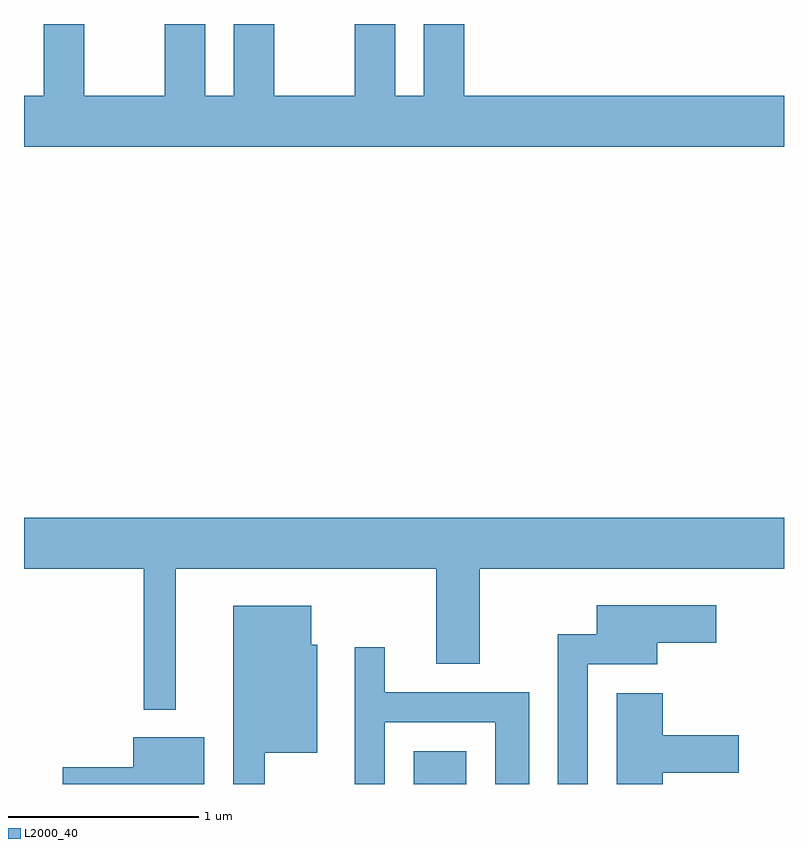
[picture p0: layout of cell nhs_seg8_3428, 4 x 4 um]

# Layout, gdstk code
import gdstk
lib = gdstk.Library(unit=1e-6, precision=1e-09)
def R(c, l, rs):  # rectangles x0, y0, x1, y1
    for r in rs: c.add(gdstk.rectangle(r[:2], r[2:], *l))
def P(c, l, *ps):  # polygons
    for p in ps: c.add(gdstk.Polygon(p, *l))
L2000_40 = (2000, 40)

nhs_seg8_3428 = lib.new_cell('nhs_seg8_3428')
R(nhs_seg8_3428, L2000_40, [(289.661,1886.342,289.939,1886.514)])
P(nhs_seg8_3428, L2000_40, [(291.611,1889.964),(289.929,1889.964),(289.929,1890.342),(289.716,1890.342),(289.716,1889.964),(289.564,1889.964),(289.564,1890.342),(289.351,1890.342),(289.351,1889.964),(288.929,1889.964),(288.929,1890.342),(288.716,1890.342),(288.716,1889.964),(288.564,1889.964),(288.564,1890.342),(288.351,1890.342),(288.351,1889.964),(287.929,1889.964),(287.929,1890.342),(287.716,1890.342),(287.716,1889.964),(287.611,1889.964),(287.611,1889.696),(291.611,1889.696)],
  [(288.409,1887.476),(289.781,1887.476),(289.781,1886.976),(290.009,1886.976),(290.009,1887.476),(291.611,1887.476),(291.611,1887.744),(287.611,1887.744),(287.611,1887.476),(288.241,1887.476),(288.241,1886.733),(288.409,1886.733)],
  [(290.579,1886.971),(290.944,1886.971),(290.944,1887.086),(291.254,1887.086),(291.254,1887.284),(290.626,1887.284),(290.626,1887.129),(290.421,1887.129),(290.421,1886.342),(290.579,1886.342)],
  [(288.879,1886.506),(289.154,1886.506),(289.154,1887.074),(289.124,1887.074),(289.124,1887.279),(288.711,1887.279),(288.711,1886.342),(288.879,1886.342)],
  [(289.509,1886.666),(290.091,1886.666),(290.091,1886.342),(290.269,1886.342),(290.269,1886.824),(289.509,1886.824),(289.509,1887.063),(289.351,1887.063),(289.351,1886.342),(289.509,1886.342)],
  [(290.974,1886.401),(291.374,1886.401),(291.374,1886.599),(290.974,1886.599),(290.974,1886.819),(290.731,1886.819),(290.731,1886.342),(290.974,1886.342)],
  [(288.559,1886.589),(288.186,1886.589),(288.186,1886.429),(287.816,1886.429),(287.816,1886.342),(288.559,1886.342)])

lib.write_gds('nhs_seg8_3428.gds')
